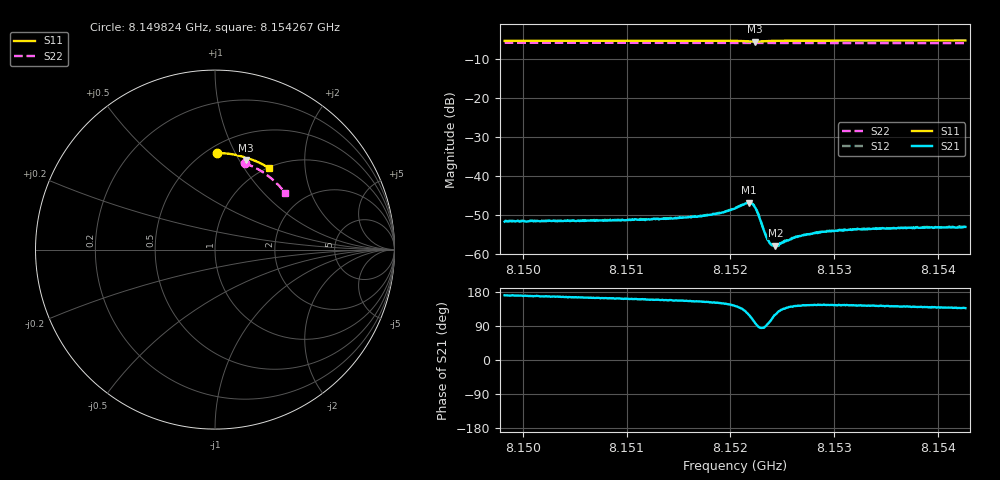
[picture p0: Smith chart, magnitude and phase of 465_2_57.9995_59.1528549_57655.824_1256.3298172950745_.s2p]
#  HZ  S  RI  R  50.00
! Rohde & Schwarz Vector Network Analyzer
! Rohde-Schwarz,ZNB20-2Port,1311601062101988,3.16
! Created: UTC 3/21/2024, 1:11:08 AM
! freq[Hz]  re:S11  im:S11  re:S21  im:S21  re:S12  im:S12  re:S22  im:S22
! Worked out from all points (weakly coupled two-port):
!   401 points, 8.149824 GHz to 8.154267 GHz, reference 50 ohm
!   highest |S21| = -46.86 dB at 8.152178 GHz (marker M1); lowest = -57.8 dB at 8.152434 GHz (marker M2)
!   lowest |S11| = -5.6 dB at 8.152234 GHz (marker M3), VSWR 3.22, Z = 38.7 + j53.2 ohm
!   |S11| at or under -10 dB: nowhere
!   |S22| runs from -6.0 to -5.9 dB; largest |S21 - S12| = 0.00012
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8.1498236e9  0.0116 0.5378  -0.00257 0.000421  -0.00263 0.000461  0.1664 0.4818
8.1505678e9  0.0635 0.5355  -0.00257 0.000691  -0.0026 0.000739  0.2103 0.4631
8.151312e9  0.1152 0.528  -0.00259 0.001  -0.00263 0.00107  0.252 0.4406
8.1515453e9  0.1314 0.5243  -0.0027 0.00116  -0.00268 0.00121  0.2649 0.4326
8.1517452e9  0.1456 0.5207  -0.00277 0.00138  -0.0028 0.0014  0.2755 0.4255
8.1519118e9  0.1577 0.5166  -0.00291 0.0017  -0.00295 0.00173  0.2842 0.4194
8.1520451e9  0.1681 0.5115  -0.00305 0.00233  -0.00308 0.0024  0.291 0.4143
8.1521451e9  0.1744 0.5041  -0.00278 0.00346  -0.00274 0.00356  0.296 0.4103
8.1521784e9  0.1746 0.5004  -0.00222 0.00396  -0.00218 0.004  0.2974 0.4089
8.1522117e9  0.1728 0.498  -0.00135 0.00418  -0.00131 0.00422  0.2989 0.4077
8.152234e9  0.171 0.4977  -0.00067 0.00399  -0.000624 0.00404  0.3002 0.4068
8.1522673e9  0.169 0.4998  7.38e-05 0.00328  0.000114 0.00333  0.3016 0.4057
8.152345e9  0.1729 0.5057  -3.55e-06 0.00169  3.05e-05 0.00171  0.3055 0.403
8.1523672e9  0.1748 0.5066  -0.000181 0.00148  -0.000164 0.00144  0.3067 0.4022
8.1524006e9  0.178 0.5072  -0.000409 0.00123  -0.000379 0.00128  0.3083 0.401
8.1524339e9  0.181 0.5072  -0.00064 0.00111  -0.00061 0.00114  0.31 0.3995
8.1526116e9  0.1955 0.5046  -0.00127 0.000987  -0.00128 0.00102  0.3188 0.3923
8.1527893e9  0.2084 0.5005  -0.00148 0.00103  -0.00148 0.00108  0.3273 0.385
8.1528449e9  0.2121 0.4991  -0.00154 0.00104  -0.00154 0.00111  0.33 0.3826
8.1530448e9  0.2255 0.4937  -0.00167 0.00114  -0.00162 0.00122  0.3392 0.3739
8.1535335e9  0.2565 0.4793  -0.00168 0.00131  -0.00168 0.00134  0.3608 0.3519
8.1542666e9  0.3007 0.4542  -0.00163 0.00152  -0.00163 0.00154  0.3905 0.3167
